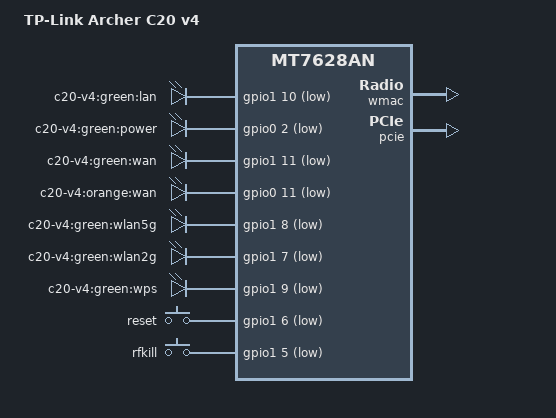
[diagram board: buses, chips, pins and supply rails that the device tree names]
/dts-v1/;

#include "TPLINK-8M.dtsi"

#include <dt-bindings/input/input.h>
#include <dt-bindings/gpio/gpio.h>

/ {
	compatible = "tplink,c20-v4", "mediatek,mt7628an-soc";
	model = "TP-Link Archer C20 v4";

	aliases {
		led-boot = &led_power;
		led-failsafe = &led_power;
		led-running = &led_power;
		led-upgrade = &led_power;
	};

	leds {
		compatible = "gpio-leds";

		lan {
			label = "c20-v4:green:lan";
			gpios = <&gpio1 10 GPIO_ACTIVE_LOW>;
		};

		led_power: power {
			label = "c20-v4:green:power";
			gpios = <&gpio0 2 GPIO_ACTIVE_LOW>;
		};

		wan {
			label = "c20-v4:green:wan";
			gpios = <&gpio1 11 GPIO_ACTIVE_LOW>;
		};

		wan_orange {
			label = "c20-v4:orange:wan";
			gpios = <&gpio0 11 GPIO_ACTIVE_LOW>;
		};

		wlan5g {
			label = "c20-v4:green:wlan5g";
			gpios = <&gpio1 8 GPIO_ACTIVE_LOW>;
		};

		wlan2g {
			label = "c20-v4:green:wlan2g";
			gpios = <&gpio1 7 GPIO_ACTIVE_LOW>;
		};

		wps {
			label = "c20-v4:green:wps";
			gpios = <&gpio1 9 GPIO_ACTIVE_LOW>;
		};
	};

	keys {
		compatible = "gpio-keys-polled";
		poll-interval = <20>;

		reset {
			label = "reset";
			gpios = <&gpio1 6 GPIO_ACTIVE_LOW>;
			linux,code = <KEY_RESTART>;
		};

		rfkill {
			label = "rfkill";
			gpios = <&gpio1 5 GPIO_ACTIVE_LOW>;
			linux,code = <KEY_RFKILL>;
		};
	};
};

&wmac {
	mtd-mac-address-increment = <(-2)>;
};

&ethernet {
	mediatek,portmap = "wllll";
};

&pinctrl {
	state_default: pinctrl0 {
		gpio {
			ralink,group = "i2s", "refclk", "p0led_an", "p1led_an", "p2led_an", "p3led_an", "p4led_an", "wdt";
			ralink,function = "gpio";
		};
	};
};

&pcie {
	status = "okay";
};

&pcie0 {
	mt76@0,0 {
		reg = <0x0000 0 0 0 0>;
		mediatek,mtd-eeprom = <&factory 0x28000>;
		ieee80211-freq-limit = <5000000 6000000>;
		mtd-mac-address = <&factory 0xf100>;
		mtd-mac-address-increment = <(-1)>;
	};
};
